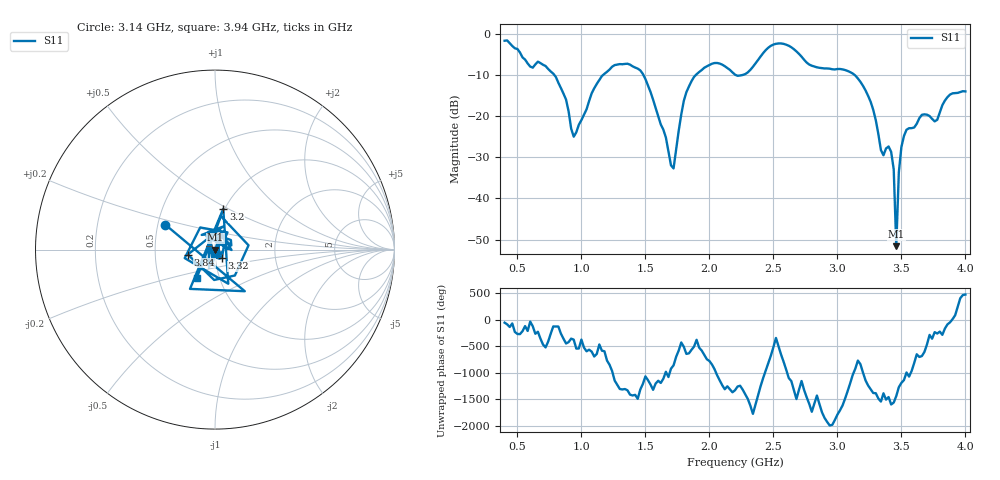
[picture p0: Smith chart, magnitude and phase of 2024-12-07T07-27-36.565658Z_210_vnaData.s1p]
!Created with skrf (http://scikit-rf.org).
# Hz S RI R 50.0
!freq ReS11 ImS11
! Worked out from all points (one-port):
!   181 points, 400 MHz to 4 GHz, reference 50 ohm
!   lowest |S11| = -51.6 dB at 3.46 GHz (marker M1), VSWR 1.01, Z = 50.3 - j0.0135 ohm
!   |S11| at or under -10 dB: 787 MHz to 1.172 GHz (384.6 MHz wide, 39.3 % of centre); 1.483 GHz to 1.896 GHz (412.6 MHz wide, 24.4 % of centre); 3.132 GHz to end of sweep (the widest 3 of 4)
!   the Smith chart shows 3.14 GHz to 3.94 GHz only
!   S11 on the Smith chart (normalised r, x): 3.14 GHz: 0.55, +0.17; 3.2 GHz: 0.98, +0.47; 3.32 GHz: 1.08, -0.10; 3.84 GHz: 0.74, -0.04; 3.94 GHz: 0.78, -0.26
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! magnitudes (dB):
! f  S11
! 400 MHz  -1.7
! 860 MHz  -14.6
! 940 MHz  -25.0
! 1.14 GHz  -11.2
! 1.3 GHz  -7.4
! 1.48 GHz  -9.8
! 1.72 GHz  -32.7
! 1.76 GHz  -23.6
! 1.82 GHz  -14.2
! 1.9 GHz  -9.9
! 2.2 GHz  -10.0
! 2.5 GHz  -2.7
! 2.66 GHz  -3.8
! 3.1 GHz  -9.4
! 3.14 GHz  -10.2
! 3.2 GHz  -12.7
! 3.32 GHz  -24.4
! 3.36 GHz  -29.5
! 3.42 GHz  -28.7
! 3.44 GHz  -32.9
! 3.46 GHz  -51.6
! 3.48 GHz  -33.7
! 3.5 GHz  -27.5
! 3.56 GHz  -23.0
! 3.78 GHz  -20.9
! 3.84 GHz  -16.3
! 3.94 GHz  -14.4
! 4 GHz  -14.0
